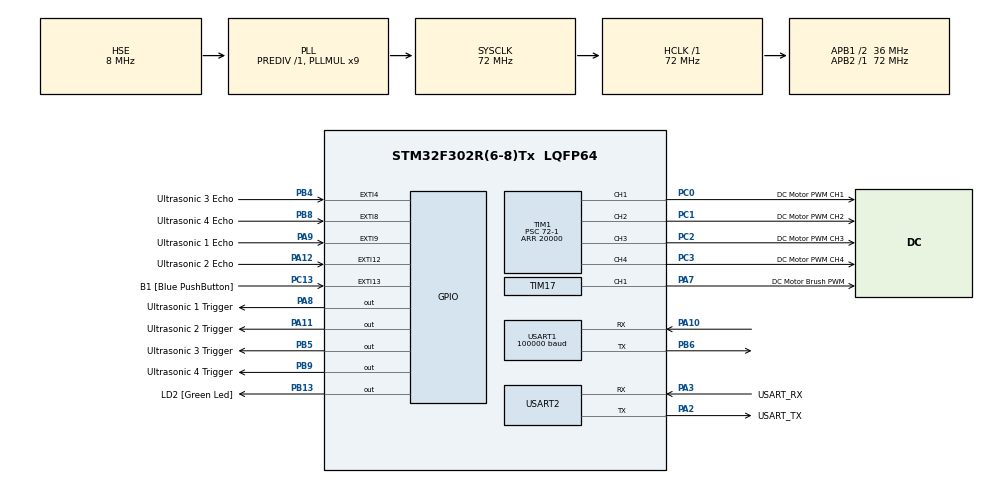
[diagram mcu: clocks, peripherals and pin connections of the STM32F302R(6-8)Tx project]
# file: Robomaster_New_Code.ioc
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Dma.Request0=USART1_RX
Dma.USART1_RX.0.Direction=DMA_PERIPH_TO_MEMORY
Dma.USART1_RX.0.Instance=DMA1_Channel5
Dma.USART1_RX.0.MemDataAlignment=DMA_MDATAALIGN_BYTE
Dma.USART1_RX.0.MemInc=DMA_MINC_ENABLE
Dma.USART1_RX.0.Mode=DMA_CIRCULAR
Dma.USART1_RX.0.PeriphDataAlignment=DMA_PDATAALIGN_BYTE
Dma.USART1_RX.0.PeriphInc=DMA_PINC_DISABLE
Dma.USART1_RX.0.Priority=DMA_PRIORITY_LOW
Mcu.Family=STM32F3
Mcu.Name=STM32F302R(6-8)Tx
Mcu.Package=LQFP64
NVIC.DMA1_Channel5_IRQn=true\:0\:0\:false\:false\:true\:false\:true
NVIC.EXTI15_10_IRQn=true\:0\:0\:false\:false\:true\:true\:true
NVIC.EXTI4_IRQn=true\:0\:0\:false\:false\:true\:true\:true
NVIC.EXTI9_5_IRQn=true\:0\:0\:false\:false\:true\:true\:true
NVIC.PriorityGroup=NVIC_PRIORITYGROUP_0
NVIC.USART1_IRQn=true\:0\:0\:false\:false\:true\:true\:true
PA10.Mode=Asynchronous
PA10.Signal=USART1_RX
PA11.GPIO_Label=Ultrasonic 2 Trigger
PA11.Signal=GPIO_Output
PA12.GPIO_Label=Ultrasonic 2 Echo
PA12.GPIO_ModeDefaultEXTI=GPIO_MODE_IT_FALLING
PA12.GPIO_PuPd=GPIO_PULLUP
PA12.Signal=GPXTI12
PA13.GPIO_Label=TMS
PA13.Mode=Serial_Wire
PA13.Signal=SYS_JTMS-SWDIO
PA14.GPIO_Label=TCK
PA14.Mode=Serial_Wire
PA14.Signal=SYS_JTCK-SWCLK
PA2.GPIO_Label=USART_TX
PA2.GPIO_Mode=GPIO_MODE_AF_PP
PA2.GPIO_PuPd=GPIO_NOPULL
PA2.GPIO_Speed=GPIO_SPEED_FREQ_LOW
PA2.Mode=Asynchronous
PA2.Signal=USART2_TX
PA3.GPIO_Label=USART_RX
PA3.GPIO_Mode=GPIO_MODE_AF_PP
PA3.GPIO_PuPd=GPIO_NOPULL
PA3.GPIO_Speed=GPIO_SPEED_FREQ_LOW
PA3.Mode=Asynchronous
PA3.Signal=USART2_RX
PA7.GPIO_Label=DC Motor Brush PWM 
PA7.Signal=S_TIM17_CH1
PA8.GPIO_Label=Ultrasonic 1 Trigger
PA8.Signal=GPIO_Output
PA9.GPIO_Label=Ultrasonic 1 Echo
PA9.GPIO_ModeDefaultEXTI=GPIO_MODE_IT_FALLING
PA9.GPIO_PuPd=GPIO_PULLUP
PA9.Signal=GPXTI9
PB13.GPIO_Label=LD2 [Green Led]
PB13.Signal=GPIO_Output
PB3.GPIO_Label=SWO
PB3.Mode=Trace_Asynchronous_SW
PB3.Signal=SYS_JTDO-TRACESWO
PB4.GPIO_Label=Ultrasonic 3 Echo
PB4.GPIO_ModeDefaultEXTI=GPIO_MODE_IT_FALLING
PB4.GPIO_PuPd=GPIO_PULLUP
PB4.Signal=GPXTI4
PB5.GPIO_Label=Ultrasonic 3 Trigger
PB5.Signal=GPIO_Output
PB6.Mode=Asynchronous
PB6.Signal=USART1_TX
PB8.GPIO_Label=Ultrasonic 4 Echo
PB8.GPIO_ModeDefaultEXTI=GPIO_MODE_IT_FALLING
PB8.GPIO_PuPd=GPIO_PULLUP
PB8.Signal=GPXTI8
PB9.GPIO_Label=Ultrasonic 4 Trigger
PB9.Signal=GPIO_Output
PC0.GPIO_Label=DC Motor PWM CH1
PC0.Signal=S_TIM1_CH1
PC1.GPIO_Label=DC Motor PWM CH2
PC1.Signal=S_TIM1_CH2
PC13.GPIO_Label=B1 [Blue PushButton]
PC13.GPIO_ModeDefaultEXTI=GPIO_MODE_IT_FALLING
PC13.GPIO_PuPd=GPIO_PULLUP
PC13.Signal=GPXTI13
PC14\ -\ OSC32_IN.Mode=LSE-External-Oscillator
PC14\ -\ OSC32_IN.Signal=RCC_OSC32_IN
PC15\ -\ OSC32_OUT.Mode=LSE-External-Oscillator
PC15\ -\ OSC32_OUT.Signal=RCC_OSC32_OUT
PC2.GPIO_Label=DC Motor PWM CH3
PC2.Signal=S_TIM1_CH3
PC3.GPIO_Label=DC Motor PWM CH4
PC3.Signal=S_TIM1_CH4
PF0-OSC_IN.Mode=HSE-External-Clock-Source
PF0-OSC_IN.Signal=RCC_OSC_IN
PF1-OSC_OUT.Signal=RCC_OSC_OUT
ProjectManager.HeapSize=0x200
ProjectManager.StackSize=0x400
ProjectManager.TargetToolchain=STM32CubeIDE
RCC.AHBFreq_Value=72000000
RCC.APB1CLKDivider=RCC_HCLK_DIV2
RCC.APB1Freq_Value=36000000
RCC.APB1TimFreq_Value=72000000
RCC.APB2Freq_Value=72000000
RCC.APB2TimFreq_Value=72000000
RCC.CortexFreq_Value=72000000
RCC.HCLKFreq_Value=72000000
RCC.HSE_VALUE=8000000
RCC.HSI_VALUE=8000000
RCC.PLLM=8
RCC.PLLMUL=RCC_PLL_MUL9
RCC.PLLN=336
RCC.PLLP=RCC_PLLP_DIV4
RCC.PLLQ=7
RCC.PLLSourceVirtual=RCC_PLLSOURCE_HSE
RCC.SYSCLKFreq_VALUE=72000000
RCC.SYSCLKSourceVirtual=RCC_SYSCLKSOURCE_PLLCLK
RCC.USBFreq_Value=72000000
SH.S_TIM17_CH1.0=TIM17_CH1,PWM Generation1 CH1
SH.S_TIM1_CH1.0=TIM1_CH1,PWM Generation1 CH1
SH.S_TIM1_CH2.0=TIM1_CH2,PWM Generation2 CH2
SH.S_TIM1_CH3.0=TIM1_CH3,PWM Generation3 CH3
SH.S_TIM1_CH4.0=TIM1_CH4,PWM Generation4 CH4
TIM1.Channel-PWM\ Generation1\ CH1=TIM_CHANNEL_1
TIM1.Channel-PWM\ Generation2\ CH2=TIM_CHANNEL_2
TIM1.Channel-PWM\ Generation3\ CH3=TIM_CHANNEL_3
TIM1.Channel-PWM\ Generation4\ CH4=TIM_CHANNEL_4
TIM1.Period=20000
TIM1.Prescaler=72-1
TIM17.Channel=TIM_CHANNEL_1
TIM17.Period=20000
TIM17.Prescaler=72-1
TIM2.Prescaler=72-1
TIM6.Period=65535
TIM6.Prescaler=72-1
USART1.BaudRate=100000
USART1.Parity=PARITY_EVEN
USART1.VirtualMode-Asynchronous=VM_ASYNC
USART1.WordLength=WORDLENGTH_9B
USART2.VirtualMode-Asynchronous=VM_ASYNC
VP_TIM17_VS_ClockSourceINT.Mode=Enable_Timer
VP_TIM2_VS_ClockSourceINT.Mode=Internal
VP_TIM6_VS_ClockSourceINT.Mode=Enable_Timer
board=NUCLEO-F302R8

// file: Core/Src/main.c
/* USER CODE BEGIN Header */
/**
  ******************************************************************************
  * @file           : main.c
  * @brief          : Main program body
  ******************************************************************************
  * @attention
  *
  * Copyright (c) 2021 STMicroelectronics.
  * All rights reserved.
  *
  * This software is licensed under terms that can be found in the LICENSE file
  * in the root directory of this software component.
  * If no LICENSE file comes with this software, it is provided AS-IS.
  *
  ******************************************************************************
  */
/* USER CODE END Header */
#include "main.h"

/* USER CODE BEGIN Includes */
#include "rc_input.h"

/* USER CODE END Includes */

TIM_HandleTypeDef htim1;
TIM_HandleTypeDef htim2;
TIM_HandleTypeDef htim6;
TIM_HandleTypeDef htim17;

UART_HandleTypeDef huart1;
UART_HandleTypeDef huart2;
DMA_HandleTypeDef hdma_usart1_rx;

/* USER CODE BEGIN PV */
uint32_t us1_start;
uint32_t us1_echo;
uint32_t us2_start;
uint32_t us2_echo;
uint32_t us3_start;
uint32_t us3_echo;
uint32_t us4_start;
uint32_t us4_echo;

extern remote_cmd_t remote_cmd;

uint16_t ButtonControl = 0;
int16_t horizontal = 0;
int16_t vertical = 0;
double distance;

int button;
/* USER CODE END PV */

void SystemClock_Config(void);
static void MX_GPIO_Init(void);
static void MX_USART2_UART_Init(void);
static void MX_TIM1_Init(void);
static void MX_TIM6_Init(void);
static void MX_TIM17_Init(void);
static void MX_DMA_Init(void);
static void MX_USART1_UART_Init(void);
static void MX_TIM2_Init(void);

/* USER CODE BEGIN 0 */
void brushStart()
{
	htim17.Instance->CCR1 = 7000;
}

void brushStop()
{
	htim17.Instance->CCR1 = 0;
}

void Stop()
{
	htim1.Instance->CCR1 = 0;
	htim1.Instance->CCR2 = 0;
	htim1.Instance->CCR3 = 0;
	htim1.Instance->CCR4 = 0;
}

void moveForward(int16_t speed)
{
	htim1.Instance->CCR1 = speed;
	htim1.Instance->CCR2 = speed;
	htim1.Instance->CCR3 = speed;
	htim1.Instance->CCR4 = speed;
}

void moveBackward()
{
	//
}

void rotateLeft(uint16_t speed)
{
	htim1.Instance->CCR1 = 0;
	htim1.Instance->CCR2 = 0;
	htim1.Instance->CCR3 = (uint32_t)speed;
	htim1.Instance->CCR4 = (uint32_t)speed;
}

void rotateRight(uint16_t speed)
{
	htim1.Instance->CCR1 = (uint32_t)speed;
	htim1.Instance->CCR2 = (uint32_t)speed;
	htim1.Instance->CCR3 = 0;
	htim1.Instance->CCR4 = 0;
}

void HAL_GPIO_EXTI_Callback(uint16_t GPIO_Pin)
{

	if(GPIO_Pin == GPIO_PIN_9)
	{
		us1_echo = __HAL_TIM_GET_COUNTER(&htim2);
		distanceFront = (float)((us1_echo - us1_start)) * 330 * 2 / 100000;
	}

	if(GPIO_Pin == GPIO_PIN_12)
	{
		us2_echo = __HAL_TIM_GET_COUNTER(&htim2);
		distanceRight = (float)((us2_echo - us2_start)) * 330 * 2 / 100000;
	}

	if(GPIO_Pin == GPIO_PIN_4)
	{
		us3_echo = __HAL_TIM_GET_COUNTER(&htim2);
		distanceBack = (float)((us3_echo - us3_start)) * 330 * 2 / 100000;
	}

	if(GPIO_Pin == GPIO_PIN_8)
	{
		us1_echo = __HAL_TIM_GET_COUNTER(&htim2);
		distanceLeft (float)((us4_echo - us4_start)) * 330 * 2 / 100000;
	}

	if(GPIO_Pin == GPIO_PIN_13 && ButtonControl == 0)
	{
//		brushStart();
		moveForward(10000);
		//rotateRight();
		ButtonControl+=1;
	}
	else if(GPIO_Pin == GPIO_PIN_13 && ButtonControl!=0)
	{
//		brushStop();
		Stop();
		ButtonControl = 0;
	}
}
int16_t vertical, horizontal;

void move()
{
	horizontal = remote_cmd.left_x;
	vertical = remote_cmd.left_y;
	if (vertical > 10)
		moveForward(vertical*17500/660);
	if (horizontal < -10)
		rotateLeft(horizontal*(-1)*10000/660);
	if (horizontal > 10)
		rotateRight(horizontal*10000/660);
	if (horizontal == 0 && vertical <= 0) Stop();
}

/* USER CODE END 0 */

int main(void)
{

  /* MCU Configuration--------------------------------------------------------*/

  /* Reset of all peripherals, Initializes the Flash interface and the Systick. */
  HAL_Init();

  /* Configure the system clock */
  SystemClock_Config();

  /* Initialize all configured peripherals */
  MX_GPIO_Init();
  MX_USART2_UART_Init();
  MX_TIM1_Init();
  MX_TIM6_Init();
  MX_TIM17_Init();
  MX_DMA_Init();
  MX_USART1_UART_Init();
  MX_TIM2_Init();
  /* USER CODE BEGIN 2 */

  HAL_TIM_PWM_Start(&htim1, TIM_CHANNEL_1);
  HAL_TIM_PWM_Start(&htim1, TIM_CHANNEL_2);
  HAL_TIM_PWM_Start(&htim1, TIM_CHANNEL_3);
  HAL_TIM_PWM_Start(&htim1, TIM_CHANNEL_4);
  HAL_TIM_PWM_Start(&htim17, TIM_CHANNEL_1);
  /* USER CODE END 2 */

  /* Infinite loop */
  /* USER CODE BEGIN WHILE */
  rc_start(&huart1);
  HAL_TIM_Base_Start(&htim2);
//  uint16_t timer_counter;
//  uint16_t compare_register;
  while (1)
  {
	  //Ultrasonic 1
	  us1_start = __HAL_TIM_GET_COUNTER(&htim2);
	  HAL_GPIO_WritePin(GPIOA, GPIO_PIN_8, GPIO_PIN_SET);
	  HAL_Delay(1);
	  HAL_GPIO_WritePin(GPIOA, GPIO_PIN_8, GPIO_PIN_RESET);

	  //Ultrasonic 2
	  us2_start = __HAL_TIM_GET_COUNTER(&htim2);
	  HAL_GPIO_WritePin(GPIOA, GPIO_PIN_11, GPIO_PIN_SET);
	  HAL_Delay(1);
	  HAL_GPIO_WritePin(GPIOA, GPIO_PIN_11, GPIO_PIN_RESET);

	  //Ultrasonic 3
	  us3_start = __HAL_TIM_GET_COUNTER(&htim2);
	  HAL_GPIO_WritePin(GPIOB, GPIO_PIN_5, GPIO_PIN_SET);
	  HAL_Delay(1);
	  HAL_GPIO_WritePin(GPIOB, GPIO_PIN_5, GPIO_PIN_RESET);

	  //Ultrasonic 4
	  us2_start = __HAL_TIM_GET_COUNTER(&htim2);
	  HAL_GPIO_WritePin(GPIOB, GPIO_PIN_9, GPIO_PIN_SET);
	  HAL_Delay(1);
	  HAL_GPIO_WritePin(GPIOB, GPIO_PIN_9, GPIO_PIN_RESET);

	  uint16_t time_for_one_rotation = ;

    /* USER CODE END WHILE */

    /* USER CODE BEGIN 3 */
	  // The count / CCR = duty cycle
	  //The wheeeeeeelsz
//	  moveForward();
//	  moveBackward();
//	  rotateLeft();
//	  rotateRight();
	  //The rotary blade that moves
	  //button = HAL_GPIO_ReadPin(GPIOC, GPIO_PIN_13);
	  move();
//	  htim17.Instance->CCR1 = 7000;
	  HAL_Delay(100);
  }
  /* USER CODE END 3 */
}

void SystemClock_Config(void)
{
  RCC_OscInitTypeDef RCC_OscInitStruct = {0};
  RCC_ClkInitTypeDef RCC_ClkInitStruct = {0};
  RCC_PeriphCLKInitTypeDef PeriphClkInit = {0};

  /** Initializes the RCC Oscillators according to the specified parameters
  * in the RCC_OscInitTypeDef structure.
  */
  RCC_OscInitStruct.OscillatorType = RCC_OSCILLATORTYPE_HSE;
  RCC_OscInitStruct.HSEState = RCC_HSE_BYPASS;
  RCC_OscInitStruct.HSEPredivValue = RCC_HSE_PREDIV_DIV1;
  RCC_OscInitStruct.HSIState = RCC_HSI_ON;
  RCC_OscInitStruct.PLL.PLLState = RCC_PLL_ON;
  RCC_OscInitStruct.PLL.PLLSource = RCC_PLLSOURCE_HSE;
  RCC_OscInitStruct.PLL.PLLMUL = RCC_PLL_MUL9;
  if (HAL_RCC_OscConfig(&RCC_OscInitStruct) != HAL_OK)
  {
    Error_Handler();
  }
  /** Initializes the CPU, AHB and APB buses clocks
  */
  RCC_ClkInitStruct.ClockType = RCC_CLOCKTYPE_HCLK|RCC_CLOCKTYPE_SYSCLK
                              |RCC_CLOCKTYPE_PCLK1|RCC_CLOCKTYPE_PCLK2;
  RCC_ClkInitStruct.SYSCLKSource = RCC_SYSCLKSOURCE_PLLCLK;
  RCC_ClkInitStruct.AHBCLKDivider = RCC_SYSCLK_DIV1;
  RCC_ClkInitStruct.APB1CLKDivider = RCC_HCLK_DIV2;
  RCC_ClkInitStruct.APB2CLKDivider = RCC_HCLK_DIV1;

  if (HAL_RCC_ClockConfig(&RCC_ClkInitStruct, FLASH_LATENCY_2) != HAL_OK)
  {
    Error_Handler();
  }
  PeriphClkInit.PeriphClockSelection = RCC_PERIPHCLK_USART1|RCC_PERIPHCLK_TIM1
                              |RCC_PERIPHCLK_TIM17;
  PeriphClkInit.Usart1ClockSelection = RCC_USART1CLKSOURCE_PCLK1;
  PeriphClkInit.Tim1ClockSelection = RCC_TIM1CLK_HCLK;
  PeriphClkInit.Tim17ClockSelection = RCC_TIM17CLK_HCLK;
  if (HAL_RCCEx_PeriphCLKConfig(&PeriphClkInit) != HAL_OK)
  {
    Error_Handler();
  }
}

static void MX_TIM1_Init(void)
{

  TIM_MasterConfigTypeDef sMasterConfig = {0};
  TIM_OC_InitTypeDef sConfigOC = {0};
  TIM_BreakDeadTimeConfigTypeDef sBreakDeadTimeConfig = {0};

  htim1.Instance = TIM1;
  htim1.Init.Prescaler = 72-1;
  htim1.Init.CounterMode = TIM_COUNTERMODE_UP;
  htim1.Init.Period = 20000;
  htim1.Init.ClockDivision = TIM_CLOCKDIVISION_DIV1;
  htim1.Init.RepetitionCounter = 0;
  htim1.Init.AutoReloadPreload = TIM_AUTORELOAD_PRELOAD_DISABLE;
  if (HAL_TIM_PWM_Init(&htim1) != HAL_OK)
  {
    Error_Handler();
  }
  sMasterConfig.MasterOutputTrigger = TIM_TRGO_RESET;
  sMasterConfig.MasterOutputTrigger2 = TIM_TRGO2_RESET;
  sMasterConfig.MasterSlaveMode = TIM_MASTERSLAVEMODE_DISABLE;
  if (HAL_TIMEx_MasterConfigSynchronization(&htim1, &sMasterConfig) != HAL_OK)
  {
    Error_Handler();
  }
  sConfigOC.OCMode = TIM_OCMODE_PWM1;
  sConfigOC.Pulse = 0;
  sConfigOC.OCPolarity = TIM_OCPOLARITY_HIGH;
  sConfigOC.OCNPolarity = TIM_OCNPOLARITY_HIGH;
  sConfigOC.OCFastMode = TIM_OCFAST_DISABLE;
  sConfigOC.OCIdleState = TIM_OCIDLESTATE_RESET;
  sConfigOC.OCNIdleState = TIM_OCNIDLESTATE_RESET;
  if (HAL_TIM_PWM_ConfigChannel(&htim1, &sConfigOC, TIM_CHANNEL_1) != HAL_OK)
  {
    Error_Handler();
  }
  if (HAL_TIM_PWM_ConfigChannel(&htim1, &sConfigOC, TIM_CHANNEL_2) != HAL_OK)
  {
    Error_Handler();
  }
  if (HAL_TIM_PWM_ConfigChannel(&htim1, &sConfigOC, TIM_CHANNEL_3) != HAL_OK)
  {
    Error_Handler();
  }
  if (HAL_TIM_PWM_ConfigChannel(&htim1, &sConfigOC, TIM_CHANNEL_4) != HAL_OK)
  {
    Error_Handler();
  }
  sBreakDeadTimeConfig.OffStateRunMode = TIM_OSSR_DISABLE;
  sBreakDeadTimeConfig.OffStateIDLEMode = TIM_OSSI_DISABLE;
  sBreakDeadTimeConfig.LockLevel = TIM_LOCKLEVEL_OFF;
  sBreakDeadTimeConfig.DeadTime = 0;
  sBreakDeadTimeConfig.BreakState = TIM_BREAK_DISABLE;
  sBreakDeadTimeConfig.BreakPolarity = TIM_BREAKPOLARITY_HIGH;
  sBreakDeadTimeConfig.BreakFilter = 0;
  sBreakDeadTimeConfig.Break2State = TIM_BREAK2_DISABLE;
  sBreakDeadTimeConfig.Break2Polarity = TIM_BREAK2POLARITY_HIGH;
  sBreakDeadTimeConfig.Break2Filter = 0;
  sBreakDeadTimeConfig.AutomaticOutput = TIM_AUTOMATICOUTPUT_DISABLE;
  if (HAL_TIMEx_ConfigBreakDeadTime(&htim1, &sBreakDeadTimeConfig) != HAL_OK)
  {
    Error_Handler();
  }
  HAL_TIM_MspPostInit(&htim1);

}

static void MX_TIM2_Init(void)
{

  TIM_ClockConfigTypeDef sClockSourceConfig = {0};
  TIM_MasterConfigTypeDef sMasterConfig = {0};

  htim2.Instance = TIM2;
  htim2.Init.Prescaler = 72-1;
  htim2.Init.CounterMode = TIM_COUNTERMODE_UP;
  htim2.Init.Period = 4294967295;
  htim2.Init.ClockDivision = TIM_CLOCKDIVISION_DIV1;
  htim2.Init.AutoReloadPreload = TIM_AUTORELOAD_PRELOAD_DISABLE;
  if (HAL_TIM_Base_Init(&htim2) != HAL_OK)
  {
    Error_Handler();
  }
  sClockSourceConfig.ClockSource = TIM_CLOCKSOURCE_INTERNAL;
  if (HAL_TIM_ConfigClockSource(&htim2, &sClockSourceConfig) != HAL_OK)
  {
    Error_Handler();
  }
  sMasterConfig.MasterOutputTrigger = TIM_TRGO_RESET;
  sMasterConfig.MasterSlaveMode = TIM_MASTERSLAVEMODE_DISABLE;
  if (HAL_TIMEx_MasterConfigSynchronization(&htim2, &sMasterConfig) != HAL_OK)
  {
    Error_Handler();
  }

}

static void MX_TIM6_Init(void)
{

  TIM_MasterConfigTypeDef sMasterConfig = {0};

  htim6.Instance = TIM6;
  htim6.Init.Prescaler = 72-1;
  htim6.Init.CounterMode = TIM_COUNTERMODE_UP;
  htim6.Init.Period = 65535;
  htim6.Init.AutoReloadPreload = TIM_AUTORELOAD_PRELOAD_DISABLE;
  if (HAL_TIM_Base_Init(&htim6) != HAL_OK)
  {
    Error_Handler();
  }
  sMasterConfig.MasterOutputTrigger = TIM_TRGO_RESET;
  sMasterConfig.MasterSlaveMode = TIM_MASTERSLAVEMODE_DISABLE;
  if (HAL_TIMEx_MasterConfigSynchronization(&htim6, &sMasterConfig) != HAL_OK)
  {
    Error_Handler();
  }

}

static void MX_TIM17_Init(void)
{

  TIM_OC_InitTypeDef sConfigOC = {0};
  TIM_BreakDeadTimeConfigTypeDef sBreakDeadTimeConfig = {0};

  htim17.Instance = TIM17;
  htim17.Init.Prescaler = 72-1;
  htim17.Init.CounterMode = TIM_COUNTERMODE_UP;
  htim17.Init.Period = 20000;
  htim17.Init.ClockDivision = TIM_CLOCKDIVISION_DIV1;
  htim17.Init.RepetitionCounter = 0;
  htim17.Init.AutoReloadPreload = TIM_AUTORELOAD_PRELOAD_DISABLE;
  if (HAL_TIM_Base_Init(&htim17) != HAL_OK)
  {
    Error_Handler();
  }
  if (HAL_TIM_PWM_Init(&htim17) != HAL_OK)
  {
    Error_Handler();
  }
  sConfigOC.OCMode = TIM_OCMODE_PWM1;
  sConfigOC.Pulse = 0;
  sConfigOC.OCPolarity = TIM_OCPOLARITY_HIGH;
  sConfigOC.OCNPolarity = TIM_OCNPOLARITY_HIGH;
  sConfigOC.OCFastMode = TIM_OCFAST_DISABLE;
  sConfigOC.OCIdleState = TIM_OCIDLESTATE_RESET;
  sConfigOC.OCNIdleState = TIM_OCNIDLESTATE_RESET;
  if (HAL_TIM_PWM_ConfigChannel(&htim17, &sConfigOC, TIM_CHANNEL_1) != HAL_OK)
  {
    Error_Handler();
  }
  sBreakDeadTimeConfig.OffStateRunMode = TIM_OSSR_DISABLE;
  sBreakDeadTimeConfig.OffStateIDLEMode = TIM_OSSI_DISABLE;
  sBreakDeadTimeConfig.LockLevel = TIM_LOCKLEVEL_OFF;
  sBreakDeadTimeConfig.DeadTime = 0;
  sBreakDeadTimeConfig.BreakState = TIM_BREAK_DISABLE;
  sBreakDeadTimeConfig.BreakPolarity = TIM_BREAKPOLARITY_HIGH;
  sBreakDeadTimeConfig.BreakFilter = 0;
  sBreakDeadTimeConfig.AutomaticOutput = TIM_AUTOMATICOUTPUT_DISABLE;
  if (HAL_TIMEx_ConfigBreakDeadTime(&htim17, &sBreakDeadTimeConfig) != HAL_OK)
  {
    Error_Handler();
  }
  HAL_TIM_MspPostInit(&htim17);

}

static void MX_USART1_UART_Init(void)
{

  huart1.Instance = USART1;
  huart1.Init.BaudRate = 100000;
  huart1.Init.WordLength = UART_WORDLENGTH_9B;
  huart1.Init.StopBits = UART_STOPBITS_1;
  huart1.Init.Parity = UART_PARITY_EVEN;
  huart1.Init.Mode = UART_MODE_TX_RX;
  huart1.Init.HwFlowCtl = UART_HWCONTROL_NONE;
  huart1.Init.OverSampling = UART_OVERSAMPLING_16;
  huart1.Init.OneBitSampling = UART_ONE_BIT_SAMPLE_DISABLE;
  huart1.AdvancedInit.AdvFeatureInit = UART_ADVFEATURE_NO_INIT;
  if (HAL_UART_Init(&huart1) != HAL_OK)
  {
    Error_Handler();
  }

}

static void MX_USART2_UART_Init(void)
{

  huart2.Instance = USART2;
  huart2.Init.BaudRate = 38400;
  huart2.Init.WordLength = UART_WORDLENGTH_8B;
  huart2.Init.StopBits = UART_STOPBITS_1;
  huart2.Init.Parity = UART_PARITY_NONE;
  huart2.Init.Mode = UART_MODE_TX_RX;
  huart2.Init.HwFlowCtl = UART_HWCONTROL_NONE;
  huart2.Init.OverSampling = UART_OVERSAMPLING_16;
  huart2.Init.OneBitSampling = UART_ONE_BIT_SAMPLE_DISABLE;
  huart2.AdvancedInit.AdvFeatureInit = UART_ADVFEATURE_NO_INIT;
  if (HAL_UART_Init(&huart2) != HAL_OK)
  {
    Error_Handler();
  }

}

static void MX_DMA_Init(void)
{

  /* DMA controller clock enable */
  __HAL_RCC_DMA1_CLK_ENABLE();

  /* DMA interrupt init */
  /* DMA1_Channel5_IRQn interrupt configuration */
  HAL_NVIC_SetPriority(DMA1_Channel5_IRQn, 0, 0);
  HAL_NVIC_EnableIRQ(DMA1_Channel5_IRQn);

}

static void MX_GPIO_Init(void)
{
  GPIO_InitTypeDef GPIO_InitStruct = {0};

  /* GPIO Ports Clock Enable */
  __HAL_RCC_GPIOC_CLK_ENABLE();
  __HAL_RCC_GPIOF_CLK_ENABLE();
  __HAL_RCC_GPIOA_CLK_ENABLE();
  __HAL_RCC_GPIOB_CLK_ENABLE();

  /*Configure GPIO pin Output Level */
  HAL_GPIO_WritePin(GPIOB, LD2_Pin|Ultrasonic_3_Trigger_Pin|Ultrasonic_4_Trigger_Pin, GPIO_PIN_RESET);

  /*Configure GPIO pin Output Level */
  HAL_GPIO_WritePin(GPIOA, Ultrasonic_1_Trigger_Pin|Ultrasonic_2_Trigger_Pin, GPIO_PIN_RESET);

  /*Configure GPIO pin : B1_Pin */
  GPIO_InitStruct.Pin = B1_Pin;
  GPIO_InitStruct.Mode = GPIO_MODE_IT_FALLING;
  GPIO_InitStruct.Pull = GPIO_PULLUP;
  HAL_GPIO_Init(B1_GPIO_Port, &GPIO_InitStruct);

  /*Configure GPIO pins : LD2_Pin Ultrasonic_3_Trigger_Pin Ultrasonic_4_Trigger_Pin */
  GPIO_InitStruct.Pin = LD2_Pin|Ultrasonic_3_Trigger_Pin|Ultrasonic_4_Trigger_Pin;
  GPIO_InitStruct.Mode = GPIO_MODE_OUTPUT_PP;
  GPIO_InitStruct.Pull = GPIO_NOPULL;
  GPIO_InitStruct.Speed = GPIO_SPEED_FREQ_LOW;
  HAL_GPIO_Init(GPIOB, &GPIO_InitStruct);

  /*Configure GPIO pins : Ultrasonic_1_Trigger_Pin Ultrasonic_2_Trigger_Pin */
  GPIO_InitStruct.Pin = Ultrasonic_1_Trigger_Pin|Ultrasonic_2_Trigger_Pin;
  GPIO_InitStruct.Mode = GPIO_MODE_OUTPUT_PP;
  GPIO_InitStruct.Pull = GPIO_NOPULL;
  GPIO_InitStruct.Speed = GPIO_SPEED_FREQ_LOW;
  HAL_GPIO_Init(GPIOA, &GPIO_InitStruct);

  /*Configure GPIO pins : Ultrasonic_1_Echo_Pin Ultrasonic_2_Echo_Pin */
  GPIO_InitStruct.Pin = Ultrasonic_1_Echo_Pin|Ultrasonic_2_Echo_Pin;
  GPIO_InitStruct.Mode = GPIO_MODE_IT_FALLING;
  GPIO_InitStruct.Pull = GPIO_PULLUP;
  HAL_GPIO_Init(GPIOA, &GPIO_InitStruct);

  /*Configure GPIO pins : Ultrasonic_3_Echo_Pin Ultrasonic_4_Echo_Pin */
  GPIO_InitStruct.Pin = Ultrasonic_3_Echo_Pin|Ultrasonic_4_Echo_Pin;
  GPIO_InitStruct.Mode = GPIO_MODE_IT_FALLING;
  GPIO_InitStruct.Pull = GPIO_PULLUP;
  HAL_GPIO_Init(GPIOB, &GPIO_InitStruct);

  /* EXTI interrupt init*/
  HAL_NVIC_SetPriority(EXTI4_IRQn, 0, 0);
  HAL_NVIC_EnableIRQ(EXTI4_IRQn);

  HAL_NVIC_SetPriority(EXTI9_5_IRQn, 0, 0);
  HAL_NVIC_EnableIRQ(EXTI9_5_IRQn);

  HAL_NVIC_SetPriority(EXTI15_10_IRQn, 0, 0);
  HAL_NVIC_EnableIRQ(EXTI15_10_IRQn);

}

void Error_Handler(void)
{
  __disable_irq();
  while (1)
  {
  }
}
